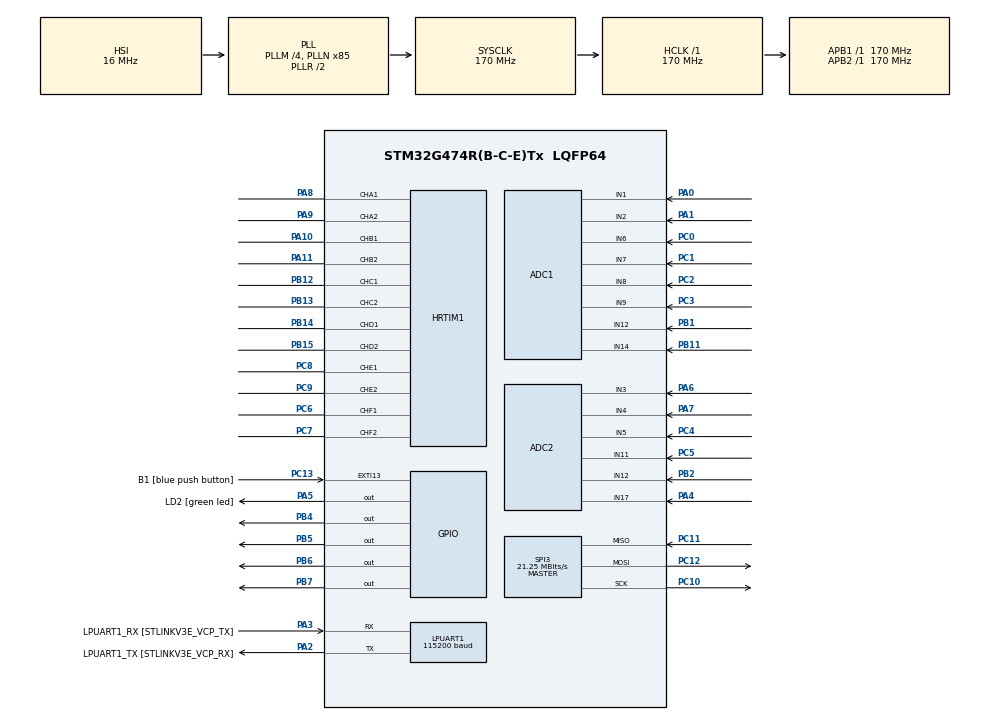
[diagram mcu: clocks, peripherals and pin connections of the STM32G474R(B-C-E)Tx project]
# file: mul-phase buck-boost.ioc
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ADC1.NbrOfConversion=1
ADC1.NbrOfConversionFlag=1
ADC1.SamplingTime-0\#ChannelRegularConversion=ADC_SAMPLETIME_640CYCLES_5
ADC1.master=1
ADC2.Channel-0\#ChannelRegularConversion=ADC_CHANNEL_3
ADC2.NbrOfConversionFlag=1
ADC2.SamplingTime-0\#ChannelRegularConversion=ADC_SAMPLETIME_640CYCLES_5
HRTIM1.CompareUnit1-MasterTimer=HRTIM_COMPAREUNIT_1
HRTIM1.CompareUnit1-Output_TA1TA2=HRTIM_COMPAREUNIT_1
HRTIM1.CompareUnit1-Output_TB1TB2=HRTIM_COMPAREUNIT_1
HRTIM1.CompareUnit1-Output_TC1TC2=HRTIM_COMPAREUNIT_1
HRTIM1.CompareUnit1-Output_TD1TD2=HRTIM_COMPAREUNIT_1
HRTIM1.CompareUnit1-Output_TE1TE2=HRTIM_COMPAREUNIT_1
HRTIM1.CompareUnit1-Output_TF1TF2=HRTIM_COMPAREUNIT_1
HRTIM1.CompareValue1-MasterTimer=680
HRTIM1.CompareValue1-Output_TA1TA2=0
HRTIM1.CompareValue1-Output_TB1TB2=0
HRTIM1.CompareValue1-Output_TC1TC2=0
HRTIM1.CompareValue1-Output_TD1TD2=0
HRTIM1.CompareValue1-Output_TE1TE2=0
HRTIM1.CompareValue1-Output_TF1TF2=0
HRTIM1.DeadTimeInsertion-Output_TA1TA2=HRTIM_TIMDEADTIMEINSERTION_ENABLED
HRTIM1.DeadTimeInsertion-Output_TB1TB2=HRTIM_TIMDEADTIMEINSERTION_ENABLED
HRTIM1.DeadTimeInsertion-Output_TC1TC2=HRTIM_TIMDEADTIMEINSERTION_ENABLED
HRTIM1.DeadTimeInsertion-Output_TD1TD2=HRTIM_TIMDEADTIMEINSERTION_ENABLED
HRTIM1.DeadTimeInsertion-Output_TE1TE2=HRTIM_TIMDEADTIMEINSERTION_ENABLED
HRTIM1.DeadTimeInsertion-Output_TF1TF2=HRTIM_TIMDEADTIMEINSERTION_ENABLED
HRTIM1.FallingSign-Output_TA1TA2=HRTIM_TIMDEADTIME_FALLINGSIGN_POSITIVE
HRTIM1.FallingValue-Output_TA1TA2=5
HRTIM1.FallingValue-Output_TB1TB2=5
HRTIM1.FallingValue-Output_TC1TC2=5
HRTIM1.FallingValue-Output_TD1TD2=5
HRTIM1.FallingValue-Output_TE1TE2=5
HRTIM1.FallingValue-Output_TF1TF2=5
HRTIM1.InterleavedMode-Output_TA1TA2=HRTIM_INTERLEAVED_MODE_DISABLED
HRTIM1.NumberResetSource1-Output_TA1TA2=1
HRTIM1.NumberResetSource1-Output_TB1TB2=1
HRTIM1.NumberResetSource1-Output_TC1TC2=1
HRTIM1.NumberResetSource1-Output_TD1TD2=1
HRTIM1.NumberResetSource1-Output_TE1TE2=1
HRTIM1.NumberResetSource1-Output_TF1TF2=1
HRTIM1.NumberResetTrigger-Output_TA1TA2=1
HRTIM1.NumberResetTrigger-Output_TB1TB2=1
HRTIM1.NumberResetTrigger-Output_TC1TC2=1
HRTIM1.NumberResetTrigger-Output_TD1TD2=1
HRTIM1.NumberResetTrigger-Output_TE1TE2=1
HRTIM1.NumberResetTrigger-Output_TF1TF2=1
HRTIM1.NumberSetSource1-Output_TA1TA2=1
HRTIM1.NumberSetSource1-Output_TB1TB2=1
HRTIM1.NumberSetSource1-Output_TC1TC2=1
HRTIM1.NumberSetSource1-Output_TD1TD2=1
HRTIM1.NumberSetSource1-Output_TE1TE2=1
HRTIM1.NumberSetSource1-Output_TF1TF2=1
HRTIM1.NumberSetSource2_TA=0
HRTIM1.NumberUpdateTrigger-Output_TA1TA2=0
HRTIM1.NumberUpdateTrigger-Output_TE1TE2=0
HRTIM1.Periode_MASTER=1360
HRTIM1.Periode_TA=1360
HRTIM1.Periode_TB=1360
HRTIM1.Periode_TC=1360
HRTIM1.Periode_TD=1360
HRTIM1.Periode_TE=1360
HRTIM1.Periode_TF=1360
HRTIM1.PreloadEnable-MasterTimer=HRTIM_PRELOAD_ENABLED
HRTIM1.PreloadEnable-Output_TA1TA2=HRTIM_PRELOAD_ENABLED
HRTIM1.PreloadEnable-Output_TB1TB2=HRTIM_PRELOAD_ENABLED
HRTIM1.PreloadEnable-Output_TC1TC2=HRTIM_PRELOAD_ENABLED
HRTIM1.PreloadEnable-Output_TD1TD2=HRTIM_PRELOAD_ENABLED
HRTIM1.PreloadEnable-Output_TE1TE2=HRTIM_PRELOAD_ENABLED
HRTIM1.PreloadEnable-Output_TF1TF2=HRTIM_PRELOAD_ENABLED
HRTIM1.PrescalerDead-Output_TA1TA2=HRTIM_TIMDEADTIME_PRESCALERRATIO_DIV1
HRTIM1.PrescalerDead-Output_TB1TB2=HRTIM_TIMDEADTIME_PRESCALERRATIO_DIV1
HRTIM1.PrescalerDead-Output_TC1TC2=HRTIM_TIMDEADTIME_PRESCALERRATIO_DIV1
HRTIM1.PrescalerDead-Output_TD1TD2=HRTIM_TIMDEADTIME_PRESCALERRATIO_DIV1
HRTIM1.PrescalerDead-Output_TE1TE2=HRTIM_TIMDEADTIME_PRESCALERRATIO_DIV1
HRTIM1.PrescalerDead-Output_TF1TF2=HRTIM_TIMDEADTIME_PRESCALERRATIO_DIV1
HRTIM1.PrescalerRatio_MASTER=HRTIM_PRESCALERRATIO_MUL4
HRTIM1.PrescalerRatio_TA=HRTIM_PRESCALERRATIO_MUL4
HRTIM1.PrescalerRatio_TB=HRTIM_PRESCALERRATIO_MUL4
HRTIM1.PrescalerRatio_TC=HRTIM_PRESCALERRATIO_MUL4
HRTIM1.PrescalerRatio_TD=HRTIM_PRESCALERRATIO_MUL4
HRTIM1.PrescalerRatio_TE=HRTIM_PRESCALERRATIO_MUL4
HRTIM1.PrescalerRatio_TF=HRTIM_PRESCALERRATIO_MUL4
HRTIM1.RepetitionUpdate-MasterTimer=HRTIM_UPDATEONREPETITION_ENABLED
HRTIM1.RepetitionUpdate-Output_TA1TA2=HRTIM_UPDATEONREPETITION_ENABLED
HRTIM1.RepetitionUpdate-Output_TB1TB2=HRTIM_UPDATEONREPETITION_ENABLED
HRTIM1.RepetitionUpdate-Output_TC1TC2=HRTIM_UPDATEONREPETITION_ENABLED
HRTIM1.RepetitionUpdate-Output_TD1TD2=HRTIM_UPDATEONREPETITION_ENABLED
HRTIM1.RepetitionUpdate-Output_TE1TE2=HRTIM_UPDATEONREPETITION_ENABLED
HRTIM1.RepetitionUpdate-Output_TF1TF2=HRTIM_UPDATEONREPETITION_ENABLED
HRTIM1.ResetOutput1_Source1-Output_TA1TA2=HRTIM_OUTPUTRESET_TIMCMP1
HRTIM1.ResetOutput1_Source1-Output_TB1TB2=HRTIM_OUTPUTRESET_TIMCMP1
HRTIM1.ResetOutput1_Source1-Output_TC1TC2=HRTIM_OUTPUTRESET_TIMCMP1
HRTIM1.ResetOutput1_Source1-Output_TD1TD2=HRTIM_OUTPUTRESET_TIMCMP1
HRTIM1.ResetOutput1_Source1-Output_TE1TE2=HRTIM_OUTPUTRESET_TIMCMP1
HRTIM1.ResetOutput1_Source1-Output_TF1TF2=HRTIM_OUTPUTRESET_TIMCMP1
HRTIM1.ResetTrigger1-Output_TA1TA2=HRTIM_TIMRESETTRIGGER_MASTER_PER
HRTIM1.ResetTrigger1-Output_TB1TB2=HRTIM_TIMRESETTRIGGER_MASTER_PER
HRTIM1.ResetTrigger1-Output_TC1TC2=HRTIM_TIMRESETTRIGGER_MASTER_PER
HRTIM1.ResetTrigger1-Output_TD1TD2=HRTIM_TIMRESETTRIGGER_MASTER_PER
HRTIM1.ResetTrigger1-Output_TE1TE2=HRTIM_TIMRESETTRIGGER_MASTER_CMP1
HRTIM1.ResetTrigger1-Output_TF1TF2=HRTIM_TIMRESETTRIGGER_MASTER_CMP1
HRTIM1.RisingSign-Output_TA1TA2=HRTIM_TIMDEADTIME_RISINGSIGN_POSITIVE
HRTIM1.RisingValue-Output_TA1TA2=5
HRTIM1.RisingValue-Output_TB1TB2=5
HRTIM1.RisingValue-Output_TC1TC2=5
HRTIM1.RisingValue-Output_TD1TD2=5
HRTIM1.RisingValue-Output_TE1TE2=5
HRTIM1.RisingValue-Output_TF1TF2=5
HRTIM1.SetOutput1_Source1-Output_TA1TA2=HRTIM_OUTPUTSET_TIMPER
HRTIM1.SetOutput1_Source1-Output_TB1TB2=HRTIM_OUTPUTSET_TIMPER
HRTIM1.SetOutput1_Source1-Output_TC1TC2=HRTIM_OUTPUTSET_TIMPER
HRTIM1.SetOutput1_Source1-Output_TD1TD2=HRTIM_OUTPUTSET_TIMPER
HRTIM1.SetOutput1_Source1-Output_TE1TE2=HRTIM_OUTPUTSET_TIMPER
HRTIM1.SetOutput1_Source1-Output_TF1TF2=HRTIM_OUTPUTSET_TIMPER
HRTIM1.StartOnSync-Output_TA1TA2=HRTIM_SYNCSTART_DISABLED
HRTIM1.StartOnSync-Output_TB1TB2=HRTIM_SYNCSTART_DISABLED
HRTIM1.SyncOptions=HRTIM_SYNCOPTION_NONE
LPUART1.BaudRate=115200
LPUART1.WordLength=UART_WORDLENGTH_8B
Mcu.Family=STM32G4
Mcu.Name=STM32G474R(B-C-E)Tx
Mcu.Package=LQFP64
NVIC.LPUART1_IRQn=true\:4\:0\:true\:false\:true\:true\:true\:true
NVIC.PriorityGroup=NVIC_PRIORITYGROUP_4
NVIC.TIM3_IRQn=true\:0\:0\:false\:false\:true\:true\:true\:true
PA0.Mode=IN1-Single-Ended
PA0.Signal=ADC1_IN1
PA1.Mode=IN2-Single-Ended
PA1.Signal=ADC1_IN2
PA10.Mode=Output_TB1TB2
PA10.Signal=HRTIM1_CHB1
PA11.Mode=Output_TB1TB2
PA11.Signal=HRTIM1_CHB2
PA13.GPIO_Label=T_SWDIO
PA13.Mode=Serial_Wire
PA13.Signal=SYS_JTMS-SWDIO
PA14.GPIO_Label=T_SWCLK
PA14.Mode=Serial_Wire
PA14.Signal=SYS_JTCK-SWCLK
PA2.GPIO_Label=LPUART1_TX [STLINKV3E_VCP_RX]
PA2.GPIO_Speed=GPIO_SPEED_FREQ_VERY_HIGH
PA2.Mode=Asynchronous
PA2.Signal=LPUART1_TX
PA3.GPIO_Label=LPUART1_RX [STLINKV3E_VCP_TX]
PA3.GPIO_Speed=GPIO_SPEED_FREQ_VERY_HIGH
PA3.Mode=Asynchronous
PA3.Signal=LPUART1_RX
PA4.Mode=IN17-Single-Ended
PA4.Signal=ADC2_IN17
PA5.GPIO_Label=LD2 [green led]
PA5.Signal=GPIO_Output
PA6.Mode=IN3-Single-Ended
PA6.Signal=ADC2_IN3
PA7.Mode=IN4-Single-Ended
PA7.Signal=ADC2_IN4
PA8.Mode=Output_TA1TA2
PA8.Signal=HRTIM1_CHA1
PA9.Mode=Output_TA1TA2
PA9.Signal=HRTIM1_CHA2
PB1.Mode=IN12-Single-Ended
PB1.Signal=ADC1_IN12
PB11.Mode=IN14-Single-Ended
PB11.Signal=ADC1_IN14
PB12.Mode=Output_TC1TC2
PB12.Signal=HRTIM1_CHC1
PB13.Mode=Output_TC1TC2
PB13.Signal=HRTIM1_CHC2
PB14.Mode=Output_TD1TD2
PB14.Signal=HRTIM1_CHD1
PB15.Mode=Output_TD1TD2
PB15.Signal=HRTIM1_CHD2
PB2.Mode=IN12-Single-Ended
PB2.Signal=ADC2_IN12
PB3.GPIO_Label=T_SWO
PB3.Signal=SYS_JTDO-SWO
PB4.Signal=GPIO_Output
PB5.Signal=GPIO_Output
PB6.Signal=GPIO_Output
PB7.Signal=GPIO_Output
PC0.Mode=IN6-Single-Ended
PC0.Signal=ADC1_IN6
PC1.Mode=IN7-Single-Ended
PC1.Signal=ADC1_IN7
PC10.GPIO_Speed=GPIO_SPEED_FREQ_VERY_HIGH
PC10.Mode=Full_Duplex_Master
PC10.Signal=SPI3_SCK
PC11.GPIO_Speed=GPIO_SPEED_FREQ_VERY_HIGH
PC11.Mode=Full_Duplex_Master
PC11.Signal=SPI3_MISO
PC12.GPIO_Speed=GPIO_SPEED_FREQ_VERY_HIGH
PC12.Mode=Full_Duplex_Master
PC12.Signal=SPI3_MOSI
PC13.GPIO_Label=B1 [blue push button]
PC13.Signal=GPXTI13
PC14-OSC32_IN.Mode=LSE-External-Oscillator
PC14-OSC32_IN.Signal=RCC_OSC32_IN
PC15-OSC32_OUT.Mode=LSE-External-Oscillator
PC15-OSC32_OUT.Signal=RCC_OSC32_OUT
PC2.Mode=IN8-Single-Ended
PC2.Signal=ADC1_IN8
PC3.Mode=IN9-Single-Ended
PC3.Signal=ADC1_IN9
PC4.Mode=IN5-Single-Ended
PC4.Signal=ADC2_IN5
PC5.Mode=IN11-Single-Ended
PC5.Signal=ADC2_IN11
PC6.Mode=Output_TF1TF2
PC6.Signal=HRTIM1_CHF1
PC7.Mode=Output_TF1TF2
PC7.Signal=HRTIM1_CHF2
PC8.Mode=Output_TE1TE2
PC8.Signal=HRTIM1_CHE1
PC9.Mode=Output_TE1TE2
PC9.Signal=HRTIM1_CHE2
PF0-OSC_IN.Mode=HSE-External-Oscillator
PF0-OSC_IN.Signal=RCC_OSC_IN
PF1-OSC_OUT.Mode=HSE-External-Oscillator
PF1-OSC_OUT.Signal=RCC_OSC_OUT
ProjectManager.HeapSize=0x200
ProjectManager.StackSize=0x400
ProjectManager.TargetToolchain=MDK-ARM V5.32
RCC.ADC12Freq_Value=170000000
RCC.ADC345Freq_Value=170000000
RCC.AHBFreq_Value=170000000
RCC.APB1Freq_Value=170000000
RCC.APB1TimFreq_Value=170000000
RCC.APB2Freq_Value=170000000
RCC.APB2TimFreq_Value=170000000
RCC.CortexFreq_Value=170000000
RCC.EXTERNAL_CLOCK_VALUE=12288000
RCC.HCLKFreq_Value=170000000
RCC.HSE_VALUE=24000000
RCC.HSI48_VALUE=48000000
RCC.HSI_VALUE=16000000
RCC.PLLM=RCC_PLLM_DIV4
RCC.PLLN=85
RCC.RTCClockSelection=RCC_RTCCLKSOURCE_LSE
RCC.SYSCLKFreq_VALUE=170000000
RCC.SYSCLKSource=RCC_SYSCLKSOURCE_PLLCLK
RCC.USBFreq_Value=170000000
RCC.VCOOutputFreq_Value=340000000
SPI3.BaudRatePrescaler=SPI_BAUDRATEPRESCALER_8
SPI3.CalculateBaudRate=21.25 MBits/s
SPI3.DataSize=SPI_DATASIZE_8BIT
SPI3.Direction=SPI_DIRECTION_2LINES
SPI3.Mode=SPI_MODE_MASTER
SPI3.VirtualType=VM_MASTER
TIM3.AutoReloadPreload=TIM_AUTORELOAD_PRELOAD_ENABLE
TIM3.PeriodNoDither=1000
TIM3.Prescaler=170
VP_HRTIM1_VS_hrtimMasterTimerNoOutput.Mode=MasterTimer
VP_SYS_VS_DBSignals.Mode=DisableDeadBatterySignals
VP_TIM3_VS_ClockSourceINT.Mode=Internal
board=NUCLEO-G474RE

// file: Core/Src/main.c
/* USER CODE BEGIN Header */
/**
  ******************************************************************************
  * @file           : main.c
  * @brief          : Main program body
  ******************************************************************************
  * @attention
  *
  * Copyright (c) 2023 STMicroelectronics.
  * All rights reserved.
  *
  * This software is licensed under terms that can be found in the LICENSE file
  * in the root directory of this software component.
  * If no LICENSE file comes with this software, it is provided AS-IS.
  *
  ******************************************************************************
  */
/* USER CODE END Header */
#include "main.h"
#include "adc.h"
#include "hrtim.h"
#include "usart.h"
#include "spi.h"
#include "tim.h"
#include "gpio.h"

/* USER CODE BEGIN Includes */
#include "buck-boost.h"
#include "usmart.h"
#include "display.h"
#include "display_test.h"
#include "lvgl.h"
#include "display_conf.h"
#include "lv_port_disp_template.h"
#include "showAD.h"
/* USER CODE END Includes */

/* USER CODE BEGIN PV */
float ADval;
//float overall_out_u_fact, overall_in_u;  // 总输入输出电压(ADC实测值)
//float overall_out_u_target;  // 目标输出电压
RunMode_t runMode = noMode;
/* USER CODE END PV */

void SystemClock_Config(void);

/* USER CODE BEGIN 0 */
void changeModeFunc(void)
{
  if(v_out_target + delta_v < v_in)
  {
    //printf("enter buck \r\n");
    // 同步Buck模式
    switch(runMode)
    {
      case noMode:break;
      case SynchronizeBuckMode: /*synchronization_buck_mode(exitMode);*/ break;
      case IncreaseBuckboostMode: increase_buckboost_mode(exitMode); break;
      case DecreaseBuckboostMode: decrease_buckboost_mode(exitMode); break;
      case SynchronizeBoostMode: synchronization_boost_mode(exitMode); break;
    }

    if(runMode != SynchronizeBuckMode)
      synchronization_buck_mode(enterMode);

    runMode = SynchronizeBuckMode;
    synchronization_buck_mode(executeMode);
  }
  else if(v_out_target <= v_in && v_in <= v_out_target + delta_v)
  {
    //printf("enter reduce buck-boost\r\n");
    // 降压Buck Boost模式
    switch(runMode)
    {
      case noMode:break;
      case SynchronizeBuckMode: synchronization_buck_mode(exitMode); break;
      case IncreaseBuckboostMode: increase_buckboost_mode(exitMode); break;
      case DecreaseBuckboostMode: /*decrease_buckboost_mode(exitMode);*/ break;
      case SynchronizeBoostMode: synchronization_boost_mode(exitMode); break;
    }

    if(runMode != DecreaseBuckboostMode)
      decrease_buckboost_mode(enterMode);

    runMode = DecreaseBuckboostMode;
    decrease_buckboost_mode(executeMode);  // execute mode
  }
  else if(v_in < v_out_target && v_out_target <= v_in + delta_v)
  {
    // 升压Buck Boost模式
    //printf("enter incrase buck-boost\r\n");
    switch(runMode)
    {
      case noMode:break;
      case SynchronizeBuckMode: synchronization_buck_mode(exitMode); break;
      case IncreaseBuckboostMode: /*increase_buckboost_mode(exitMode);*/ break;
      case DecreaseBuckboostMode: decrease_buckboost_mode(exitMode); break;
      case SynchronizeBoostMode: synchronization_boost_mode(exitMode); break;
    }

    if(runMode != IncreaseBuckboostMode)
      increase_buckboost_mode(enterMode);

    runMode = IncreaseBuckboostMode;
    increase_buckboost_mode(executeMode);
  }
  else if(v_in + delta_v < v_out_target)
  {
    // 同步Boost模式
//    printf("enter boost \r\n");
    switch(runMode)
    {
      case noMode:break;
      case SynchronizeBuckMode: synchronization_buck_mode(exitMode); break;
      case IncreaseBuckboostMode: increase_buckboost_mode(exitMode); break;
      case DecreaseBuckboostMode: decrease_buckboost_mode(exitMode); break;
      case SynchronizeBoostMode: /*synchronization_boost_mode(exitMode);*/ break;
    }

    if(runMode != SynchronizeBoostMode)
      synchronization_boost_mode(enterMode);

    runMode = SynchronizeBoostMode;
    synchronization_boost_mode(executeMode);
  }
}
/* USER CODE END 0 */

int main(void)
{

  /* MCU Configuration--------------------------------------------------------*/

  /* Reset of all peripherals, Initializes the Flash interface and the Systick. */
  HAL_Init();

  /* Configure the system clock */
  SystemClock_Config();

  /* Initialize all configured peripherals */
  MX_GPIO_Init();
  MX_ADC1_Init();
  MX_ADC2_Init();
  MX_HRTIM1_Init();
  MX_LPUART1_UART_Init();
  MX_SPI3_Init();
  MX_TIM3_Init();
  /* USER CODE BEGIN 2 */
  HAL_TIM_Base_Start_IT(&htim3);
  lv_init();
	lv_port_disp_init();
	AD_label_event_init();

  HAL_HRTIM_WaveformOutputStart(&hhrtim1, HRTIM_TIMERID_MASTER);  // 开启主时钟同步
  HAL_HRTIM_WaveformCountStart(&hhrtim1, HRTIM_TIMERID_MASTER);

  // HAL_HRTIM_WaveformOutputStart(&hhrtim1, HRTIM_OUTPUT_TA1 | HRTIM_OUTPUT_TA2);
  // HAL_HRTIM_WaveformCountStart(&hhrtim1, HRTIM_TIMERID_TIMER_A);
  // HAL_HRTIM_WaveformOutputStart(&hhrtim1, HRTIM_OUTPUT_TB1 | HRTIM_OUTPUT_TB2);
  // HAL_HRTIM_WaveformCountStart(&hhrtim1, HRTIM_TIMERID_TIMER_B);
  HAL_HRTIM_WaveformOutputStart(&hhrtim1, HRTIM_OUTPUT_TC1 | HRTIM_OUTPUT_TC2);
  HAL_HRTIM_WaveformCountStart(&hhrtim1, HRTIM_TIMERID_TIMER_C);
  HAL_HRTIM_WaveformOutputStart(&hhrtim1, HRTIM_OUTPUT_TD1 | HRTIM_OUTPUT_TD2);
  HAL_HRTIM_WaveformCountStart(&hhrtim1, HRTIM_TIMERID_TIMER_D);
  HAL_HRTIM_WaveformOutputStart(&hhrtim1, HRTIM_OUTPUT_TE1 | HRTIM_OUTPUT_TE2);
  HAL_HRTIM_WaveformCountStart(&hhrtim1, HRTIM_TIMERID_TIMER_E);
  HAL_HRTIM_WaveformOutputStart(&hhrtim1, HRTIM_OUTPUT_TF1 | HRTIM_OUTPUT_TF2);
  HAL_HRTIM_WaveformCountStart(&hhrtim1, HRTIM_TIMERID_TIMER_F);
  /* USER CODE END 2 */

  /* Infinite loop */
  /* USER CODE BEGIN WHILE */
  // __HAL_HRTIM_SETCOMPARE(&hhrtim1, 0x0, HRTIM_COMPAREUNIT_1, 0);  // 0x0 to 0x5 for timers A to F
  // __HAL_HRTIM_SETCOMPARE(&hhrtim1, 0x1, HRTIM_COMPAREUNIT_1, 0);  // PWM set zero
  __HAL_HRTIM_SETCOMPARE(&hhrtim1, 0x2, HRTIM_COMPAREUNIT_1, 0);
  __HAL_HRTIM_SETCOMPARE(&hhrtim1, 0x3, HRTIM_COMPAREUNIT_1, 0);
  __HAL_HRTIM_SETCOMPARE(&hhrtim1, 0x4, HRTIM_COMPAREUNIT_1, 0);
  __HAL_HRTIM_SETCOMPARE(&hhrtim1, 0x5, HRTIM_COMPAREUNIT_1, 0);

  usmart_dev.init(0);		//初始化USMART
  config_param_init();  // 预设参数初始化
  v_out_target = 1.8;  // 这个考虑定时器中断进行修改
  while (1)
  {
    change_AD_data(0, 11.0);
    // v_in 是否需要做成动态采集
    v_in = Get_Adc_MidValue(overall_in.adcx_ptr, overall_in.ADC_Channel);
    printf("v_in: %f\r\n", v_in);

    if(v_in > 0.9f)  // 必须要有一定的输入电压
      changeModeFunc();
    else
      printf("v_in is too low to run\r\n");

    HAL_Delay(120);  // TODO 时间暂时调大，便于调试

    HAL_GPIO_TogglePin(LD2_GPIO_Port, LD2_Pin);

    usmart_dev.scan(); // 执行usmart扫描
    lv_timer_handler();

    printf("draw: %f,%f,%f\r\n", v_out_target, Get_Adc_MidValue(overall_out.adcx_ptr, overall_out.ADC_Channel),
                                    Get_Adc_MidValue(overall_in.adcx_ptr, overall_in.ADC_Channel)
                                    );
    /* USER CODE END WHILE */

  }
}

void SystemClock_Config(void)
{
  RCC_OscInitTypeDef RCC_OscInitStruct = {0};
  RCC_ClkInitTypeDef RCC_ClkInitStruct = {0};

  /** Configure the main internal regulator output voltage
  */
  HAL_PWREx_ControlVoltageScaling(PWR_REGULATOR_VOLTAGE_SCALE1_BOOST);

  /** Initializes the RCC Oscillators according to the specified parameters
  * in the RCC_OscInitTypeDef structure.
  */
  RCC_OscInitStruct.OscillatorType = RCC_OSCILLATORTYPE_HSI;
  RCC_OscInitStruct.HSIState = RCC_HSI_ON;
  RCC_OscInitStruct.HSICalibrationValue = RCC_HSICALIBRATION_DEFAULT;
  RCC_OscInitStruct.PLL.PLLState = RCC_PLL_ON;
  RCC_OscInitStruct.PLL.PLLSource = RCC_PLLSOURCE_HSI;
  RCC_OscInitStruct.PLL.PLLM = RCC_PLLM_DIV4;
  RCC_OscInitStruct.PLL.PLLN = 85;
  RCC_OscInitStruct.PLL.PLLP = RCC_PLLP_DIV2;
  RCC_OscInitStruct.PLL.PLLQ = RCC_PLLQ_DIV2;
  RCC_OscInitStruct.PLL.PLLR = RCC_PLLR_DIV2;
  if (HAL_RCC_OscConfig(&RCC_OscInitStruct) != HAL_OK)
  {
    Error_Handler();
  }

  /** Initializes the CPU, AHB and APB buses clocks
  */
  RCC_ClkInitStruct.ClockType = RCC_CLOCKTYPE_HCLK|RCC_CLOCKTYPE_SYSCLK
                              |RCC_CLOCKTYPE_PCLK1|RCC_CLOCKTYPE_PCLK2;
  RCC_ClkInitStruct.SYSCLKSource = RCC_SYSCLKSOURCE_PLLCLK;
  RCC_ClkInitStruct.AHBCLKDivider = RCC_SYSCLK_DIV1;
  RCC_ClkInitStruct.APB1CLKDivider = RCC_HCLK_DIV1;
  RCC_ClkInitStruct.APB2CLKDivider = RCC_HCLK_DIV1;

  if (HAL_RCC_ClockConfig(&RCC_ClkInitStruct, FLASH_LATENCY_4) != HAL_OK)
  {
    Error_Handler();
  }
}

void Error_Handler(void)
{
  __disable_irq();
  while (1)
  {
  }
}
